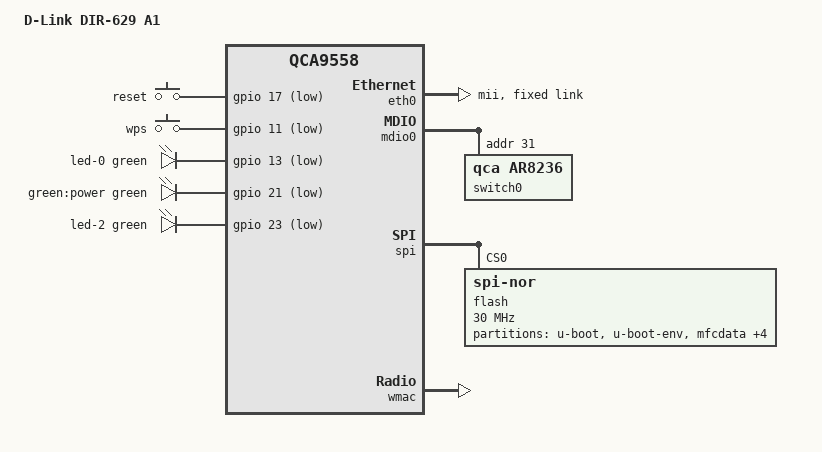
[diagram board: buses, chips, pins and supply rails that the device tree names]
// SPDX-License-Identifier: GPL-2.0-or-later OR MIT

#include "qca955x.dtsi"

#include <dt-bindings/gpio/gpio.h>
#include <dt-bindings/input/input.h>
#include <dt-bindings/leds/common.h>

/ {
	compatible = "dlink,dir-629-a1", "qca,qca9558";
	model = "D-Link DIR-629 A1";

	aliases {
		label-mac-device = &eth0;
		led-boot = &led_power;
		led-failsafe = &led_power;
		led-running = &led_power;
		led-upgrade = &led_power;
		serial0 = &uart;
	};

	keys {
		compatible = "gpio-keys";

		reset {
			label = "reset";
			linux,code = <KEY_RESTART>;
			gpios = <&gpio 17 GPIO_ACTIVE_LOW>;
		};

		wps {
			label = "wps";
			linux,code = <KEY_WPS_BUTTON>;
			gpios = <&gpio 11 GPIO_ACTIVE_LOW>;
		};
	};

	leds {
		compatible = "gpio-leds";

		led-0 {
			color = <LED_COLOR_ID_GREEN>;
			function = LED_FUNCTION_WLAN;
			gpios = <&gpio 13 GPIO_ACTIVE_LOW>;
			linux,default-trigger = "phy0tpt";
		};

		led_power: led-1 {
			label = "green:power";
			color = <LED_COLOR_ID_GREEN>;
			function = LED_FUNCTION_POWER;
			gpios = <&gpio 21 GPIO_ACTIVE_LOW>;
		};

		led-2 {
			color = <LED_COLOR_ID_GREEN>;
			function = LED_FUNCTION_WPS;
			gpios = <&gpio 23 GPIO_ACTIVE_LOW>;
		};
	};
};

&eth0 {
	status = "okay";

	phy-mode = "mii";

	nvmem-cells = <&macaddr_mfcdata_35 0>;
	nvmem-cell-names = "mac-address";

	fixed-link {
		speed = <100>;
		full-duplex;
	};
};

&mdio0 {
	status = "okay";

	switch0@1f {
		compatible = "qca,ar8236";
		reg = <0x1f>;
	};
};

&spi {
	status = "okay";

	flash@0 {
		compatible = "jedec,spi-nor";
		reg = <0>;
		spi-max-frequency = <30000000>;
		m25p,fast-read;

		partitions {
			compatible = "fixed-partitions";
			#address-cells = <1>;
			#size-cells = <1>;

			partition@0 {
				label = "u-boot";
				reg = <0x000000 0x040000>;
				read-only;
			};

			partition@40000 {
				label = "u-boot-env";
				reg = <0x040000 0x008000>;
				read-only;
			};

			partition@48000 {
				label = "mfcdata";
				reg = <0x048000 0x008000>;
				read-only;

				nvmem-layout {
					compatible = "fixed-layout";
					#address-cells = <1>;
					#size-cells = <1>;

					macaddr_mfcdata_35: macaddr@35 {
						compatible = "mac-base";
						reg = <0x35 0x11>;
						#nvmem-cell-cells = <1>;
					};

					macaddr_mfcdata_51: macaddr@51 {
						compatible = "mac-base";
						reg = <0x51 0x11>;
						#nvmem-cell-cells = <1>;
					};
				};
			};

			partition@50000 {
				label = "devconf";
				reg = <0x050000 0x010000>;
				read-only;
			};

			partition@60000 {
				label = "langpack";
				reg = <0x060000 0x020000>;
				read-only;
			};

			partition@80000 {
				label = "art";
				reg = <0x080000 0x010000>;
				read-only;

				nvmem-layout {
					compatible = "fixed-layout";
					#address-cells = <1>;
					#size-cells = <1>;

					cal_art_1000: calibration@1000 {
						reg = <0x1000 0x440>;
					};
				};
			};

			partition@90000 {
				compatible = "seama";
				label = "firmware";
				reg = <0x090000 0x770000>;
			};
		};
	};
};

&wmac {
	status = "okay";

	nvmem-cells = <&cal_art_1000>, <&macaddr_mfcdata_51 0>;
	nvmem-cell-names = "calibration", "mac-address";
};
